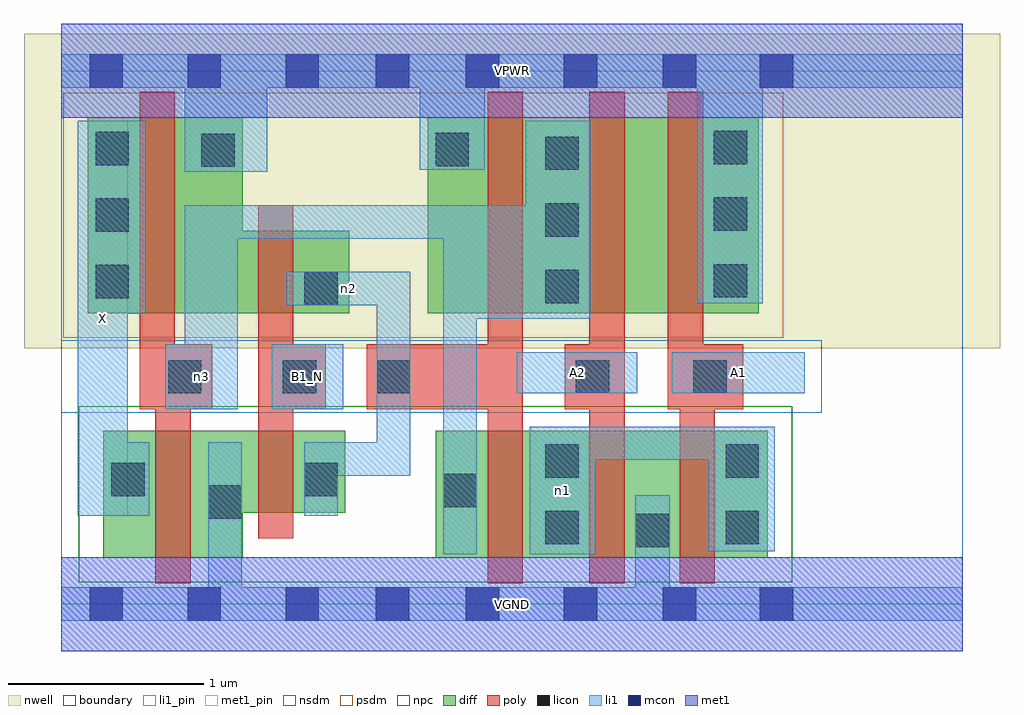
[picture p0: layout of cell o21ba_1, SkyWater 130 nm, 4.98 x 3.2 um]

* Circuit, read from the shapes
.subckt o21ba_1 A1 A2 B1_N VGND VPWR X n1 n2 n3
XM1 VGND n3 X VSUBS sky130_fd_pr__nfet_01v8 w=0.65 l=0.18
XM2 n2 B1_N VGND VSUBS sky130_fd_pr__nfet_01v8 w=0.42 l=0.18
XM3 n1 n2 n3 VSUBS sky130_fd_pr__nfet_01v8 w=0.65 l=0.18
XM4 VGND A2 n1 VSUBS sky130_fd_pr__nfet_01v8 w=0.65 l=0.18
XM5 n1 A1 VGND VSUBS sky130_fd_pr__nfet_01v8 w=0.65 l=0.18
XM6 VPWR n3 X n4 sky130_fd_pr__pfet_01v8 w=1 l=0.18
XM7 n2 B1_N VPWR n4 sky130_fd_pr__pfet_01v8 w=0.42 l=0.18
XM8 n3 n2 VPWR n4 sky130_fd_pr__pfet_01v8 w=1 l=0.18
XM9 n5 A2 n3 n4 sky130_fd_pr__pfet_01v8 w=1 l=0.18
XM10 VPWR A1 n5 n4 sky130_fd_pr__pfet_01v8 w=1 l=0.18
.ends

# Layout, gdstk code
import gdstk
lib = gdstk.Library(unit=1e-6, precision=1e-09)
def R(c, l, rs):  # rectangles x0, y0, x1, y1
    for r in rs: c.add(gdstk.rectangle(r[:2], r[2:], *l))
def A(c, l, x, y, w, h, nx, ny, dx, dy):  # array of equal rectangles
    R(c, l, [(x+i*dx, y+j*dy, x+i*dx+w, y+j*dy+h) for i in range(nx) for j in range(ny)])
nwell = (64, 20)
diff = (65, 20)
poly = (66, 20)
licon = (66, 44)
li1_pin = (67, 16)
li1 = (67, 20)
mcon = (67, 44)
met1_pin = (68, 16)
met1 = (68, 20)
nsdm = (93, 44)
psdm = (94, 20)
npc = (95, 20)
boundary = (235, 4)

o21ba_1 = lib.new_cell('o21ba_1')
R(o21ba_1, nwell, [(-0.19,1.305,4.79,2.91), (0,1.305,4.6,2.91)])
R(o21ba_1, diff, [(0.215,0.235,0.925,0.885), (1.91,0.235,3.605,0.885), (0.215,0.465,1.45,0.885), (0.135,1.485,0.925,2.485), (0.135,1.485,1.47,1.905), (1.87,1.485,3.56,2.485)])
R(o21ba_1, poly, [(0.48,0.105,0.66,1.325), (2.175,0.105,2.355,2.615), (2.695,0.105,2.875,2.615), (3.155,0.105,3.335,1.325), (1.005,0.335,1.185,2.035), (0.4,0.995,0.58,2.615), (0.4,0.995,0.77,1.325), (1.005,0.995,1.35,1.325), (1.56,0.995,2.355,1.325), (2.57,0.995,2.875,1.325), (3.095,0.995,3.275,2.615), (3.095,0.995,3.48,1.325)])
A(o21ba_1, licon, 2.47, 1.535, 0.17, 0.17, 1, 3, 0, 0.34)
A(o21ba_1, licon, 0.175, 1.56, 0.17, 0.17, 1, 3, 0, 0.34)
A(o21ba_1, licon, 3.33, 1.565, 0.17, 0.17, 1, 3, 0, 0.34)
R(o21ba_1, licon, [(2.93,0.29,3.1,0.46), (2.47,0.305,2.64,0.475), (3.39,0.305,3.56,0.475), (0.75,0.435,0.92,0.605), (1.95,0.495,2.12,0.665), (0.255,0.55,0.425,0.72), (1.24,0.55,1.41,0.72), (2.47,0.645,2.64,0.815), (3.39,0.645,3.56,0.815), (0.545,1.075,0.715,1.245), (1.13,1.075,1.3,1.245), (1.61,1.075,1.78,1.245), (2.625,1.075,2.795,1.245), (3.225,1.075,3.395,1.245), (1.24,1.525,1.41,1.695), (0.715,2.23,0.885,2.4), (1.91,2.235,2.08,2.405)])
R(o21ba_1, li1_pin, [(0.085,0.45,0.34,2.465), (1.075,0.995,1.44,1.325), (2.325,1.075,2.94,1.285), (3.115,1.075,3.795,1.285)])
R(o21ba_1, li1, [(0,-0.085,4.6,0.085), (0.75,-0.085,0.92,0.825), (2.93,-0.085,3.105,0.555), (1.95,0.255,2.12,2.035), (2.39,0.255,2.725,0.905), (3.305,0.27,3.64,0.905), (0.085,0.45,0.34,2.465), (0.085,0.45,0.45,0.825), (1.24,0.45,1.41,0.825), (1.24,0.655,1.78,0.825), (1.61,0.655,1.78,1.695), (2.39,0.735,3.64,0.905), (0.53,0.995,0.9,1.325), (0.63,0.995,0.9,2.035), (1.075,0.995,1.44,1.325), (2.325,1.075,2.94,1.285), (3.115,1.075,3.795,1.285), (1.95,1.455,2.7,2.035), (2.37,1.455,2.7,2.465), (0.085,1.48,0.43,2.465), (1.15,1.525,1.78,1.695), (3.245,1.535,3.58,2.805), (0.63,1.865,2.7,2.035), (0.63,2.205,1.05,2.805), (1.83,2.215,2.16,2.805), (0,2.635,4.6,2.805)])
A(o21ba_1, mcon, 0.145, -0.085, 0.17, 0.17, 3, 2, 0.5, 2.72)
R(o21ba_1, mcon, [(1.605,-0.085,1.775,0.085), (2.065,-0.085,2.235,0.085), (2.565,-0.085,2.735,0.085), (3.07,-0.085,3.24,0.085), (3.565,-0.085,3.735,0.085), (1.605,2.635,1.775,2.805), (2.065,2.635,2.235,2.805), (2.565,2.635,2.735,2.805), (3.07,2.635,3.24,2.805), (3.565,2.635,3.735,2.805)])
R(o21ba_1, met1_pin, [(0,-0.24,4.6,0.24), (0,2.48,4.6,2.96)])
R(o21ba_1, met1, [(0,-0.24,4.6,0.24), (0,2.48,4.6,2.96)])
R(o21ba_1, nsdm, [(0.09,0.11,3.73,1.01)])
R(o21ba_1, psdm, [(0.01,1.36,3.685,2.61)])
R(o21ba_1, npc, [(0,0.975,3.88,1.345)])
R(o21ba_1, boundary, [(0,0,4.6,2.72)])
o21ba_1.add(gdstk.Label('A1', (3.455,1.18), layer=67, texttype=5))
o21ba_1.add(gdstk.Label('A2', (2.632,1.18), layer=67, texttype=5))
o21ba_1.add(gdstk.Label('B1_N', (1.257,1.16), layer=67, texttype=5))
o21ba_1.add(gdstk.Label('X', (0.212,1.457), layer=67, texttype=5))
o21ba_1.add(gdstk.Label('n1', (2.557,0.58), layer=67, texttype=5))
o21ba_1.add(gdstk.Label('n2', (1.465,1.61), layer=67, texttype=5))
o21ba_1.add(gdstk.Label('n3', (0.715,1.16), layer=67, texttype=5))
o21ba_1.add(gdstk.Label('VPWR', (2.3,2.72), layer=68, texttype=5))
o21ba_1.add(gdstk.Label('VGND', (2.3,0), layer=68, texttype=5))
o21ba_1.add(gdstk.Label('A1', (3.455,1.18), layer=67, texttype=16))
o21ba_1.add(gdstk.Label('A2', (2.632,1.18), layer=67, texttype=16))
o21ba_1.add(gdstk.Label('B1_N', (1.257,1.16), layer=67, texttype=16))
o21ba_1.add(gdstk.Label('X', (0.212,1.457), layer=67, texttype=16))
o21ba_1.add(gdstk.Label('VPWR', (2.3,2.72), layer=68, texttype=16))
o21ba_1.add(gdstk.Label('VGND', (2.3,0), layer=68, texttype=16))

lib.write_gds('o21ba_1.gds')
